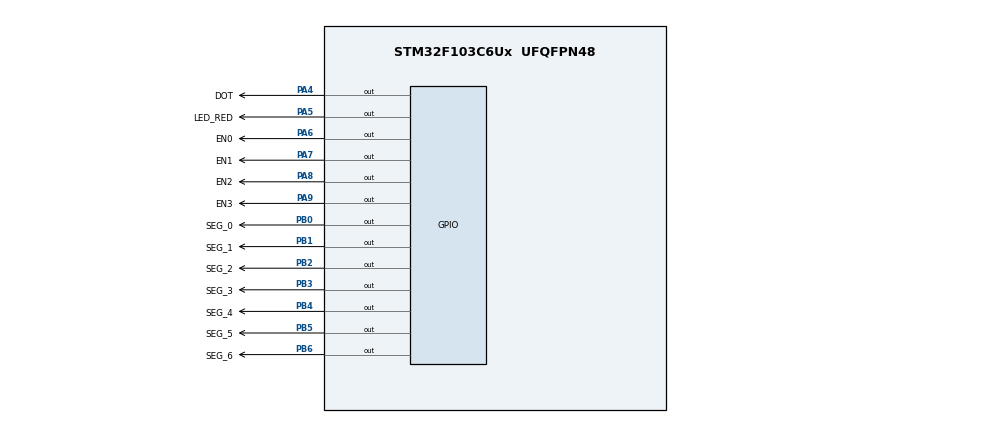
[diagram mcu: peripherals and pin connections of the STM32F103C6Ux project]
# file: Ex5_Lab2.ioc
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Mcu.Family=STM32F1
Mcu.Name=STM32F103C6Ux
Mcu.Package=UFQFPN48
NVIC.PriorityGroup=NVIC_PRIORITYGROUP_4
NVIC.TIM2_IRQn=true\:0\:0\:false\:false\:true\:true\:true
PA4.GPIO_Label=DOT
PA4.Signal=GPIO_Output
PA5.GPIO_Label=LED_RED
PA5.Signal=GPIO_Output
PA6.GPIO_Label=EN0
PA6.Signal=GPIO_Output
PA7.GPIO_Label=EN1
PA7.Signal=GPIO_Output
PA8.GPIO_Label=EN2
PA8.Signal=GPIO_Output
PA9.GPIO_Label=EN3
PA9.Signal=GPIO_Output
PB0.GPIO_Label=SEG_0
PB0.Signal=GPIO_Output
PB1.GPIO_Label=SEG_1
PB1.Signal=GPIO_Output
PB2.GPIO_Label=SEG_2
PB2.Signal=GPIO_Output
PB3.GPIO_Label=SEG_3
PB3.Signal=GPIO_Output
PB4.GPIO_Label=SEG_4
PB4.Signal=GPIO_Output
PB5.GPIO_Label=SEG_5
PB5.Signal=GPIO_Output
PB6.GPIO_Label=SEG_6
PB6.Signal=GPIO_Output
ProjectManager.HeapSize=0x200
ProjectManager.StackSize=0x400
ProjectManager.TargetToolchain=STM32CubeIDE
RCC.APB1Freq_Value=8000000
RCC.APB2Freq_Value=8000000
TIM2.Period=9
TIM2.Prescaler=7999
VP_SYS_VS_ND.Mode=No_Debug
VP_TIM2_VS_ClockSourceINT.Mode=Internal
board=custom

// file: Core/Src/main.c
/* USER CODE BEGIN Header */
/**
  ******************************************************************************
  * @file           : main.c
  * @brief          : Main program body
  ******************************************************************************
  * @attention
  *
  * <h2><center>&copy; Copyright (c) 2024 STMicroelectronics.
  * All rights reserved.</center></h2>
  *
  * This software component is licensed by ST under BSD 3-Clause license,
  * the "License"; You may not use this file except in compliance with the
  * License. You may obtain a copy of the License at:
  *                        opensource.org/licenses/BSD-3-Clause
  *
  ******************************************************************************
  */
/* USER CODE END Header */
#include "main.h"

TIM_HandleTypeDef htim2;

void SystemClock_Config(void);
static void MX_GPIO_Init(void);
static void MX_TIM2_Init(void);
void updateClockBuffer(int hour, int minute);

int main(void)
{

  /* MCU Configuration--------------------------------------------------------*/

  /* Reset of all peripherals, Initializes the Flash interface and the Systick. */
  HAL_Init();

  /* Configure the system clock */
  SystemClock_Config();

  /* Initialize all configured peripherals */
  MX_GPIO_Init();
  MX_TIM2_Init();
  /* USER CODE BEGIN 2 */
  HAL_TIM_Base_Start_IT(&htim2);

  /* USER CODE END 2 */

  /* Infinite loop */
  /* USER CODE BEGIN WHILE */
  int hour = 15, minute = 8, second = 50;
  while (1)
  {
	  second++;
	  if (second >= 60)
	  {
		  second = 0;
		  minute ++;
	  }
	  if (minute >= 60)
	  {
		  minute = 0;
		  hour++;
	  }
	  if (hour >= 24)
	  {
		  hour = 0;
	  }
	  updateClockBuffer(hour, minute);
	  HAL_Delay(1000);
    /* USER CODE END WHILE */

  }
}

void SystemClock_Config(void)
{
  RCC_OscInitTypeDef RCC_OscInitStruct = {0};
  RCC_ClkInitTypeDef RCC_ClkInitStruct = {0};

  /** Initializes the RCC Oscillators according to the specified parameters
  * in the RCC_OscInitTypeDef structure.
  */
  RCC_OscInitStruct.OscillatorType = RCC_OSCILLATORTYPE_HSI;
  RCC_OscInitStruct.HSIState = RCC_HSI_ON;
  RCC_OscInitStruct.HSICalibrationValue = RCC_HSICALIBRATION_DEFAULT;
  RCC_OscInitStruct.PLL.PLLState = RCC_PLL_NONE;
  if (HAL_RCC_OscConfig(&RCC_OscInitStruct) != HAL_OK)
  {
    Error_Handler();
  }
  /** Initializes the CPU, AHB and APB buses clocks
  */
  RCC_ClkInitStruct.ClockType = RCC_CLOCKTYPE_HCLK|RCC_CLOCKTYPE_SYSCLK
                              |RCC_CLOCKTYPE_PCLK1|RCC_CLOCKTYPE_PCLK2;
  RCC_ClkInitStruct.SYSCLKSource = RCC_SYSCLKSOURCE_HSI;
  RCC_ClkInitStruct.AHBCLKDivider = RCC_SYSCLK_DIV1;
  RCC_ClkInitStruct.APB1CLKDivider = RCC_HCLK_DIV1;
  RCC_ClkInitStruct.APB2CLKDivider = RCC_HCLK_DIV1;

  if (HAL_RCC_ClockConfig(&RCC_ClkInitStruct, FLASH_LATENCY_0) != HAL_OK)
  {
    Error_Handler();
  }
}

static void MX_TIM2_Init(void)
{

  TIM_ClockConfigTypeDef sClockSourceConfig = {0};
  TIM_MasterConfigTypeDef sMasterConfig = {0};

  htim2.Instance = TIM2;
  htim2.Init.Prescaler = 7999;
  htim2.Init.CounterMode = TIM_COUNTERMODE_UP;
  htim2.Init.Period = 9;
  htim2.Init.ClockDivision = TIM_CLOCKDIVISION_DIV1;
  htim2.Init.AutoReloadPreload = TIM_AUTORELOAD_PRELOAD_DISABLE;
  if (HAL_TIM_Base_Init(&htim2) != HAL_OK)
  {
    Error_Handler();
  }
  sClockSourceConfig.ClockSource = TIM_CLOCKSOURCE_INTERNAL;
  if (HAL_TIM_ConfigClockSource(&htim2, &sClockSourceConfig) != HAL_OK)
  {
    Error_Handler();
  }
  sMasterConfig.MasterOutputTrigger = TIM_TRGO_RESET;
  sMasterConfig.MasterSlaveMode = TIM_MASTERSLAVEMODE_DISABLE;
  if (HAL_TIMEx_MasterConfigSynchronization(&htim2, &sMasterConfig) != HAL_OK)
  {
    Error_Handler();
  }

}

static void MX_GPIO_Init(void)
{
  GPIO_InitTypeDef GPIO_InitStruct = {0};

  /* GPIO Ports Clock Enable */
  __HAL_RCC_GPIOA_CLK_ENABLE();
  __HAL_RCC_GPIOB_CLK_ENABLE();

  /*Configure GPIO pin Output Level */
  HAL_GPIO_WritePin(GPIOA, DOT_Pin|LED_RED_Pin|EN0_Pin|EN1_Pin
                          |EN2_Pin|EN3_Pin, GPIO_PIN_RESET);

  /*Configure GPIO pin Output Level */
  HAL_GPIO_WritePin(GPIOB, SEG_0_Pin|SEG_1_Pin|SEG_2_Pin|SEG_3_Pin
                          |SEG_4_Pin|SEG_5_Pin|SEG_6_Pin, GPIO_PIN_RESET);

  /*Configure GPIO pins : DOT_Pin LED_RED_Pin EN0_Pin EN1_Pin
                           EN2_Pin EN3_Pin */
  GPIO_InitStruct.Pin = DOT_Pin|LED_RED_Pin|EN0_Pin|EN1_Pin
                          |EN2_Pin|EN3_Pin;
  GPIO_InitStruct.Mode = GPIO_MODE_OUTPUT_PP;
  GPIO_InitStruct.Pull = GPIO_NOPULL;
  GPIO_InitStruct.Speed = GPIO_SPEED_FREQ_LOW;
  HAL_GPIO_Init(GPIOA, &GPIO_InitStruct);

  /*Configure GPIO pins : SEG_0_Pin SEG_1_Pin SEG_2_Pin SEG_3_Pin
                           SEG_4_Pin SEG_5_Pin SEG_6_Pin */
  GPIO_InitStruct.Pin = SEG_0_Pin|SEG_1_Pin|SEG_2_Pin|SEG_3_Pin
                          |SEG_4_Pin|SEG_5_Pin|SEG_6_Pin;
  GPIO_InitStruct.Mode = GPIO_MODE_OUTPUT_PP;
  GPIO_InitStruct.Pull = GPIO_NOPULL;
  GPIO_InitStruct.Speed = GPIO_SPEED_FREQ_LOW;
  HAL_GPIO_Init(GPIOB, &GPIO_InitStruct);

}

/* USER CODE BEGIN 4 */
void display7SEG(int num)
  {
	  if (num == 0)
	  {
		  HAL_GPIO_WritePin(SEG_0_GPIO_Port, SEG_0_Pin, GPIO_PIN_RESET);
		  HAL_GPIO_WritePin(SEG_1_GPIO_Port, SEG_1_Pin, GPIO_PIN_RESET);
		  HAL_GPIO_WritePin(SEG_2_GPIO_Port, SEG_2_Pin, GPIO_PIN_RESET);
		  HAL_GPIO_WritePin(SEG_3_GPIO_Port, SEG_3_Pin, GPIO_PIN_RESET);
		  HAL_GPIO_WritePin(SEG_4_GPIO_Port, SEG_4_Pin, GPIO_PIN_RESET);
		  HAL_GPIO_WritePin(SEG_5_GPIO_Port, SEG_5_Pin, GPIO_PIN_RESET);
		  HAL_GPIO_WritePin(SEG_6_GPIO_Port, SEG_6_Pin, GPIO_PIN_SET);
	  }
	  else if (num == 1)
	  {
		  HAL_GPIO_WritePin(SEG_0_GPIO_Port, SEG_0_Pin, GPIO_PIN_SET);
		  HAL_GPIO_WritePin(SEG_1_GPIO_Port, SEG_1_Pin, GPIO_PIN_RESET);
		  HAL_GPIO_WritePin(SEG_2_GPIO_Port, SEG_2_Pin, GPIO_PIN_RESET);
		  HAL_GPIO_WritePin(SEG_3_GPIO_Port, SEG_3_Pin, GPIO_PIN_SET);
		  HAL_GPIO_WritePin(SEG_4_GPIO_Port, SEG_4_Pin, GPIO_PIN_SET);
		  HAL_GPIO_WritePin(SEG_5_GPIO_Port, SEG_5_Pin, GPIO_PIN_SET);
		  HAL_GPIO_WritePin(SEG_6_GPIO_Port, SEG_6_Pin, GPIO_PIN_SET);
	  }
	  else if (num == 2)
	  {
		  HAL_GPIO_WritePin(SEG_0_GPIO_Port, SEG_0_Pin, GPIO_PIN_RESET);
		  HAL_GPIO_WritePin(SEG_1_GPIO_Port, SEG_1_Pin, GPIO_PIN_RESET);
		  HAL_GPIO_WritePin(SEG_2_GPIO_Port, SEG_2_Pin, GPIO_PIN_SET);
		  HAL_GPIO_WritePin(SEG_3_GPIO_Port, SEG_3_Pin, GPIO_PIN_RESET);
		  HAL_GPIO_WritePin(SEG_4_GPIO_Port, SEG_4_Pin, GPIO_PIN_RESET);
		  HAL_GPIO_WritePin(SEG_5_GPIO_Port, SEG_5_Pin, GPIO_PIN_SET);
		  HAL_GPIO_WritePin(SEG_6_GPIO_Port, SEG_6_Pin, GPIO_PIN_RESET);
	  }
	  else if (num == 3)
	  {
		  HAL_GPIO_WritePin(SEG_0_GPIO_Port, SEG_0_Pin, GPIO_PIN_RESET);
		  HAL_GPIO_WritePin(SEG_1_GPIO_Port, SEG_1_Pin, GPIO_PIN_RESET);
		  HAL_GPIO_WritePin(SEG_2_GPIO_Port, SEG_2_Pin, GPIO_PIN_RESET);
		  HAL_GPIO_WritePin(SEG_3_GPIO_Port, SEG_3_Pin, GPIO_PIN_RESET);
		  HAL_GPIO_WritePin(SEG_4_GPIO_Port, SEG_4_Pin, GPIO_PIN_SET);
		  HAL_GPIO_WritePin(SEG_5_GPIO_Port, SEG_5_Pin, GPIO_PIN_SET);
		  HAL_GPIO_WritePin(SEG_6_GPIO_Port, SEG_6_Pin, GPIO_PIN_RESET);
	  }
	  else if (num == 4)
	  {
		  HAL_GPIO_WritePin(SEG_0_GPIO_Port, SEG_0_Pin, GPIO_PIN_SET);
		  HAL_GPIO_WritePin(SEG_1_GPIO_Port, SEG_1_Pin, GPIO_PIN_RESET);
		  HAL_GPIO_WritePin(SEG_2_GPIO_Port, SEG_2_Pin, GPIO_PIN_RESET);
		  HAL_GPIO_WritePin(SEG_3_GPIO_Port, SEG_3_Pin, GPIO_PIN_SET);
		  HAL_GPIO_WritePin(SEG_4_GPIO_Port, SEG_4_Pin, GPIO_PIN_SET);
		  HAL_GPIO_WritePin(SEG_5_GPIO_Port, SEG_5_Pin, GPIO_PIN_RESET);
		  HAL_GPIO_WritePin(SEG_6_GPIO_Port, SEG_6_Pin, GPIO_PIN_RESET);
	  }
	  else if (num == 5)
	  {
		  HAL_GPIO_WritePin(SEG_0_GPIO_Port, SEG_0_Pin, GPIO_PIN_RESET);
		  HAL_GPIO_WritePin(SEG_1_GPIO_Port, SEG_1_Pin, GPIO_PIN_SET);
		  HAL_GPIO_WritePin(SEG_2_GPIO_Port, SEG_2_Pin, GPIO_PIN_RESET);
		  HAL_GPIO_WritePin(SEG_3_GPIO_Port, SEG_3_Pin, GPIO_PIN_RESET);
		  HAL_GPIO_WritePin(SEG_4_GPIO_Port, SEG_4_Pin, GPIO_PIN_SET);
		  HAL_GPIO_WritePin(SEG_5_GPIO_Port, SEG_5_Pin, GPIO_PIN_RESET);
		  HAL_GPIO_WritePin(SEG_6_GPIO_Port, SEG_6_Pin, GPIO_PIN_RESET);
	  }
	  else if (num == 6)
	  {
		  HAL_GPIO_WritePin(SEG_0_GPIO_Port, SEG_0_Pin, GPIO_PIN_RESET);
		  HAL_GPIO_WritePin(SEG_1_GPIO_Port, SEG_1_Pin, GPIO_PIN_SET);
		  HAL_GPIO_WritePin(SEG_2_GPIO_Port, SEG_2_Pin, GPIO_PIN_RESET);
		  HAL_GPIO_WritePin(SEG_3_GPIO_Port, SEG_3_Pin, GPIO_PIN_RESET);
		  HAL_GPIO_WritePin(SEG_4_GPIO_Port, SEG_4_Pin, GPIO_PIN_RESET);
		  HAL_GPIO_WritePin(SEG_5_GPIO_Port, SEG_5_Pin, GPIO_PIN_RESET);
		  HAL_GPIO_WritePin(SEG_6_GPIO_Port, SEG_6_Pin, GPIO_PIN_RESET);
	  }
	  else if (num == 7)
	  {
		  HAL_GPIO_WritePin(SEG_0_GPIO_Port, SEG_0_Pin, GPIO_PIN_RESET);
		  HAL_GPIO_WritePin(SEG_1_GPIO_Port, SEG_1_Pin, GPIO_PIN_RESET);
		  HAL_GPIO_WritePin(SEG_2_GPIO_Port, SEG_2_Pin, GPIO_PIN_RESET);
		  HAL_GPIO_WritePin(SEG_3_GPIO_Port, SEG_3_Pin, GPIO_PIN_SET);
		  HAL_GPIO_WritePin(SEG_4_GPIO_Port, SEG_4_Pin, GPIO_PIN_SET);
		  HAL_GPIO_WritePin(SEG_5_GPIO_Port, SEG_5_Pin, GPIO_PIN_SET);
		  HAL_GPIO_WritePin(SEG_6_GPIO_Port, SEG_6_Pin, GPIO_PIN_SET);
	  }
	  else if (num == 8)
	  {
		  HAL_GPIO_WritePin(SEG_0_GPIO_Port, SEG_0_Pin, GPIO_PIN_RESET);
		  HAL_GPIO_WritePin(SEG_1_GPIO_Port, SEG_1_Pin, GPIO_PIN_RESET);
		  HAL_GPIO_WritePin(SEG_2_GPIO_Port, SEG_2_Pin, GPIO_PIN_RESET);
		  HAL_GPIO_WritePin(SEG_3_GPIO_Port, SEG_3_Pin, GPIO_PIN_RESET);
		  HAL_GPIO_WritePin(SEG_4_GPIO_Port, SEG_4_Pin, GPIO_PIN_RESET);
		  HAL_GPIO_WritePin(SEG_5_GPIO_Port, SEG_5_Pin, GPIO_PIN_RESET);
		  HAL_GPIO_WritePin(SEG_6_GPIO_Port, SEG_6_Pin, GPIO_PIN_RESET);
	  }
	  else if (num == 9)
	  {
		  HAL_GPIO_WritePin(SEG_0_GPIO_Port, SEG_0_Pin, GPIO_PIN_RESET);
		  HAL_GPIO_WritePin(SEG_1_GPIO_Port, SEG_1_Pin, GPIO_PIN_RESET);
		  HAL_GPIO_WritePin(SEG_2_GPIO_Port, SEG_2_Pin, GPIO_PIN_RESET);
		  HAL_GPIO_WritePin(SEG_3_GPIO_Port, SEG_3_Pin, GPIO_PIN_RESET);
		  HAL_GPIO_WritePin(SEG_4_GPIO_Port, SEG_4_Pin, GPIO_PIN_SET);
		  HAL_GPIO_WritePin(SEG_5_GPIO_Port, SEG_5_Pin, GPIO_PIN_RESET);
		  HAL_GPIO_WritePin(SEG_6_GPIO_Port, SEG_6_Pin, GPIO_PIN_RESET);
	  }
  }

int led_buffer[4] = {0, 0, 0, 0};
void updateClockBuffer(int hour, int minute)
{
	if (minute <= 9)
	{
		led_buffer[2] = 0;
		led_buffer[3] = minute;
	}
	if (minute >= 10)
	{
		led_buffer[2] = minute / 10;
		led_buffer[3] = minute % 10;
	}
	if (hour <= 9)
	{
		led_buffer[0] = 0;
		led_buffer[1] = hour;
	}
	if (hour >= 10)
	{
		led_buffer[0] = hour / 10;
		led_buffer[1] = hour % 10;
	}
}

const int MAX_LED = 4;
int index_led = 0;
void update7SEG(int index)
{
	switch (index)
	{
	case 0:
		HAL_GPIO_WritePin(EN0_GPIO_Port, EN0_Pin, GPIO_PIN_RESET);
		HAL_GPIO_WritePin(EN1_GPIO_Port, EN1_Pin, GPIO_PIN_SET);
		HAL_GPIO_WritePin(EN2_GPIO_Port, EN2_Pin, GPIO_PIN_SET);
		HAL_GPIO_WritePin(EN3_GPIO_Port, EN3_Pin, GPIO_PIN_SET);
		display7SEG(led_buffer[0]);
		break;
	case 1:
		HAL_GPIO_WritePin(EN0_GPIO_Port, EN0_Pin, GPIO_PIN_SET);
		HAL_GPIO_WritePin(EN1_GPIO_Port, EN1_Pin, GPIO_PIN_RESET);
		HAL_GPIO_WritePin(EN2_GPIO_Port, EN2_Pin, GPIO_PIN_SET);
		HAL_GPIO_WritePin(EN3_GPIO_Port, EN3_Pin, GPIO_PIN_SET);
		display7SEG(led_buffer[1]);
		break;
	case 2:
		HAL_GPIO_WritePin(EN0_GPIO_Port, EN0_Pin, GPIO_PIN_SET);
		HAL_GPIO_WritePin(EN1_GPIO_Port, EN1_Pin, GPIO_PIN_SET);
		HAL_GPIO_WritePin(EN2_GPIO_Port, EN2_Pin, GPIO_PIN_RESET);
		HAL_GPIO_WritePin(EN3_GPIO_Port, EN3_Pin, GPIO_PIN_SET);
		display7SEG(led_buffer[2]);
		break;
	case 3:
		HAL_GPIO_WritePin(EN0_GPIO_Port, EN0_Pin, GPIO_PIN_SET);
		HAL_GPIO_WritePin(EN1_GPIO_Port, EN1_Pin, GPIO_PIN_SET);
		HAL_GPIO_WritePin(EN2_GPIO_Port, EN2_Pin, GPIO_PIN_SET);
		HAL_GPIO_WritePin(EN3_GPIO_Port, EN3_Pin, GPIO_PIN_RESET);
		display7SEG(led_buffer[3]);
		break;
	default:
		break;
	}
}

int counter = 25;
int counter1 = 100;
void HAL_TIM_PeriodElapsedCallback(TIM_HandleTypeDef *htim)
{
	counter--;
	if(counter <= 0)
	{
		counter = 25;
		update7SEG(index_led++);
		if(index_led > 3)
		{
			index_led = 0;
		}
	}
	counter1--;
	if(counter1 <= 0)
	{
		counter1 = 100;
		HAL_GPIO_TogglePin(LED_RED_GPIO_Port, LED_RED_Pin);
		HAL_GPIO_TogglePin(DOT_GPIO_Port, DOT_Pin);
	}

}

/* USER CODE END 4 */

void Error_Handler(void)
{
  __disable_irq();
  while (1)
  {
  }
}

/************************ (C) COPYRIGHT STMicroelectronics *****END OF FILE****/
